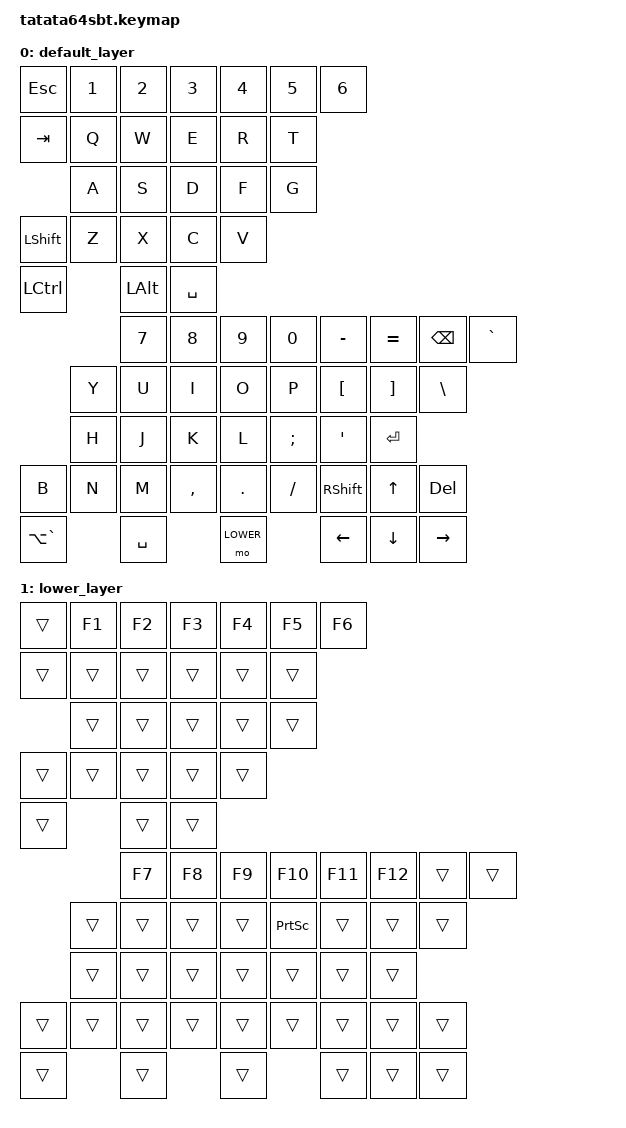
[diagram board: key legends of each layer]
#include <behaviors.dtsi>
#include <dt-bindings/zmk/keys.h>

/ {
    keymap {
        compatible = "zmk,keymap";

        default_layer {
            bindings = <
            &kp ESC       &kp N1 &kp N2    &kp N3    &kp N4    &kp N5    &kp N6
            &kp TAB       &kp Q  &kp W     &kp E     &kp R     &kp T
                          &kp A  &kp S     &kp D     &kp F     &kp G
            &kp LSHFT     &kp Z  &kp X     &kp C     &kp V
            &kp LCTRL            &kp LALT  &kp SPACE
                                 &kp N7    &kp N8    &kp N9    &kp N0    &kp MINUS &kp EQUAL &kp BSPC  &kp GRAVE
                          &kp Y  &kp U     &kp I     &kp O     &kp P     &kp LBKT  &kp RBKT  &kp BSLH
                          &kp H  &kp J     &kp K     &kp L     &kp SEMI  &kp APOS            &kp ENTER
            &kp B         &kp N  &kp M     &kp COMMA &kp DOT   &kp SLASH           &kp RSHFT &kp UP    &kp DEL
            &kp LA(GRAVE)        &kp SPACE           &mo LOWER                     &kp LEFT  &kp DOWN  &kp RIGHT
            >;
        };

        lower_layer {
            bindings = <
            &trans &kp F1 &kp F2 &kp F3 &kp F4 &kp F5    &kp F6
            &trans &trans &trans &trans &trans &trans
                   &trans &trans &trans &trans &trans
            &trans &trans &trans &trans &trans 
            &trans        &trans &trans
                          &kp F7 &kp F8 &kp F9 &kp F10   &kp F11 &kp F12 &trans &trans
                   &trans &trans &trans &trans &kp PSCRN &trans  &trans  &trans
                   &trans &trans &trans &trans &trans    &trans          &trans
            &trans &trans &trans &trans &trans &trans            &trans  &trans &trans
            &trans        &trans        &trans                   &trans  &trans &trans
            >;
        };
    };
};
